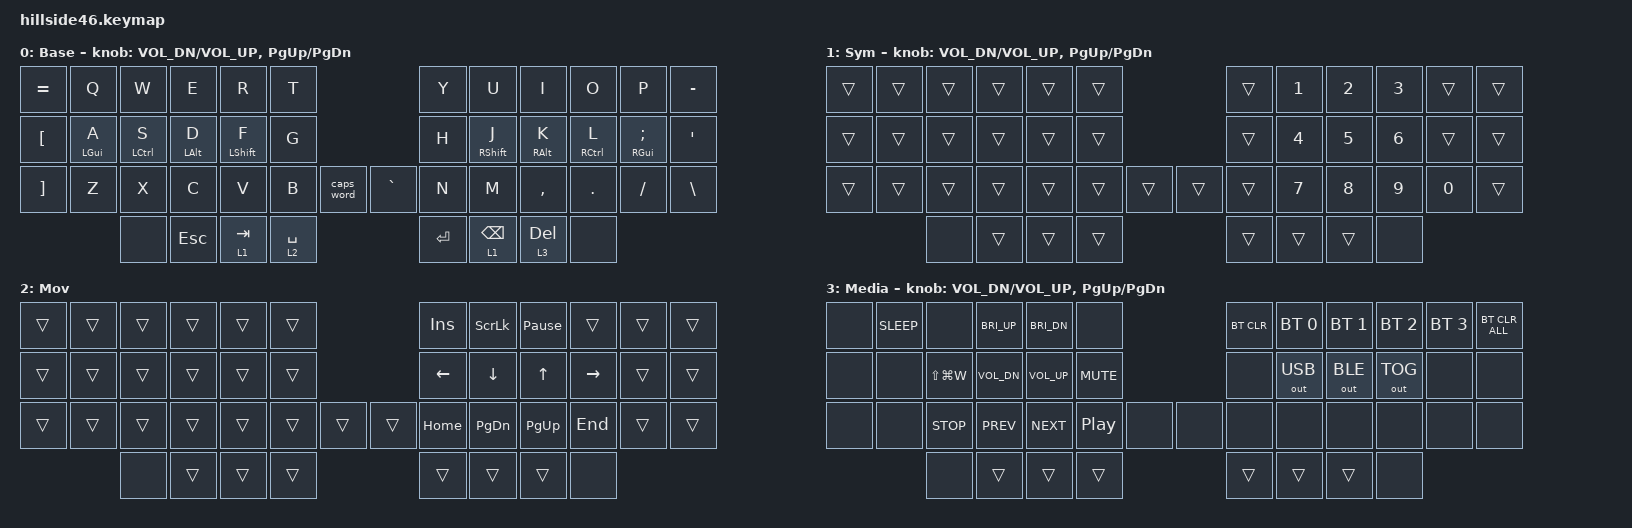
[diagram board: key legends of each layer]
/*
 * Copyright (c) 2020 The ZMK Contributors
 *
 * SPDX-License-Identifier: MIT
 */

#include <behaviors.dtsi>
#include <dt-bindings/zmk/bt.h>
#include <dt-bindings/zmk/keys.h>
#include <dt-bindings/zmk/outputs.h>

#include "zmk-helpers/helper.h"
#include "zmk-helpers/key-labels/hillside46.h"

#define QTMS 200
&mt {
  flavor = "balanced";
  quick-tap-ms = <QTMS>;
};

&lt {
  flavor = "balanced";
  tapping-term-ms = <200>;
  quick-tap-ms = <QTMS>;
};

#define KEYS_L LT0 LT1 LT2 LT3 LT4 LT5 LM0 LM1 LM2 LM3 LM4 LM5 LB0 LB1 LB2 LB3 LB4 LB5 LH4
#define KEYS_R RT0 RT1 RT2 RT3 RT4 RT5 RM0 RM1 RM2 RM3 RM4 RM5 RB0 RB1 RB2 RB3 RB4 RB5 RH4
#define THUMBS LH3 LH2 LH1 LH0 RH0 RH1 RH2 RH3

#define MAKE_HRM(NAME, HOLD, TAP, TRIGGER_POS)                                 \
  ZMK_HOLD_TAP(NAME, bindings = <HOLD>, <TAP>; flavor = "balanced";            \
               tapping-term-ms = <280>; quick-tap-ms = <QTMS>;                  \
               require-prior-idle-ms = <50>; hold-trigger-on-release;         \
               hold-trigger-key-positions = <TRIGGER_POS>;)

MAKE_HRM(hml, &kp, &kp, KEYS_R THUMBS) // Left-hand HRMs.
MAKE_HRM(hmr, &kp, &kp, KEYS_L THUMBS) // Right-hand HRMs.

/ {
    keymap {
        compatible = "zmk,keymap";

        default_layer {

            display-name = "Base";
            bindings = <
&kp EQUAL &kp Q        &kp W         &kp E         &kp R         &kp T                        &kp Y    &kp U         &kp I        &kp O         &kp P           &kp MINUS
&kp LBKT  &hml LGUI A  &hml LCTRL S  &hml LALT D   &hml LSHFT F  &kp G                        &kp H    &hmr RSHFT J  &hmr RALT K  &hmr RCTRL L  &hmr RGUI SEMI  &kp SQT
&kp RBKT  &kp Z        &kp X         &kp C         &kp V         &kp B  &caps_word &kp GRAVE  &kp N    &kp M         &kp COMMA    &kp DOT       &kp  FSLH       &kp BSLH
                       &none         &kp ESC       &lt 1 TAB     &lt 2 SPACE                  &kp RET  &lt 1 BSPC    &lt 3 DEL    &none

            >;
            sensor-bindings = <&inc_dec_kp C_VOL_DN C_VOL_UP &inc_dec_kp PG_UP PG_DN>;
        };

        raise_layer {

            display-name = "Sym";
            bindings = <
&trans  &trans &trans &trans &trans &trans                 &trans  &kp N1  &kp N2  &kp N3  &trans   &trans
&trans  &trans &trans &trans &trans &trans                 &trans  &kp N4  &kp N5  &kp N6  &trans   &trans
&trans  &trans &trans &trans &trans &trans &trans  &trans  &trans  &kp N7  &kp N8  &kp N9  &kp N0   &trans
               &none  &trans &trans &trans                 &trans  &trans  &trans  &none
            >;
            sensor-bindings = <&inc_dec_kp C_VOL_DN C_VOL_UP &inc_dec_kp PG_UP PG_DN>;
        };

        lower_layer {

            display-name = "Mov";
            bindings = <
&trans     &trans  &trans  &trans   &trans   &trans                  &kp INSERT  &kp SCROLLLOCK  &kp PAUSE_BREAK  &trans     &trans   &trans
&trans     &trans  &trans  &trans   &trans   &trans                  &kp LEFT    &kp DOWN        &kp UP           &kp RIGHT  &trans  &trans
&trans     &trans  &trans  &trans   &trans   &trans    &trans &trans &kp HOME    &kp PAGE_DOWN   &kp PAGE_UP      &kp END    &trans  &trans
                   &none   &trans   &trans   &trans                  &trans      &trans          &trans           &none
            >;
        };

        layer_3 {

            display-name = "Media";
            bindings = <
&none  &kp K_SLEEP &none          &kp C_BRI_UP  &kp C_BRI_DN  &none                      &bt BT_CLR  &bt BT_SEL 0  &bt BT_SEL 1  &bt BT_SEL 2  &bt BT_SEL 3  &bt BT_CLR_ALL
&none  &none       &kp LS(LG(W))  &kp K_VOL_DN  &kp C_VOL_UP  &kp C_MUTE                 &none       &out OUT_USB  &out OUT_BLE  &out OUT_TOG  &none        &none
&none  &none       &kp K_STOP     &kp C_PREV    &kp C_NEXT    &kp C_PP     &none &none   &none       &none         &none         &none         &none        &none
                                       &none &trans     &trans                &trans              &trans     &trans        &trans &none
            >;
            sensor-bindings = <&inc_dec_kp C_VOL_DN C_VOL_UP &inc_dec_kp PG_UP PG_DN>;
        };

    };
};
